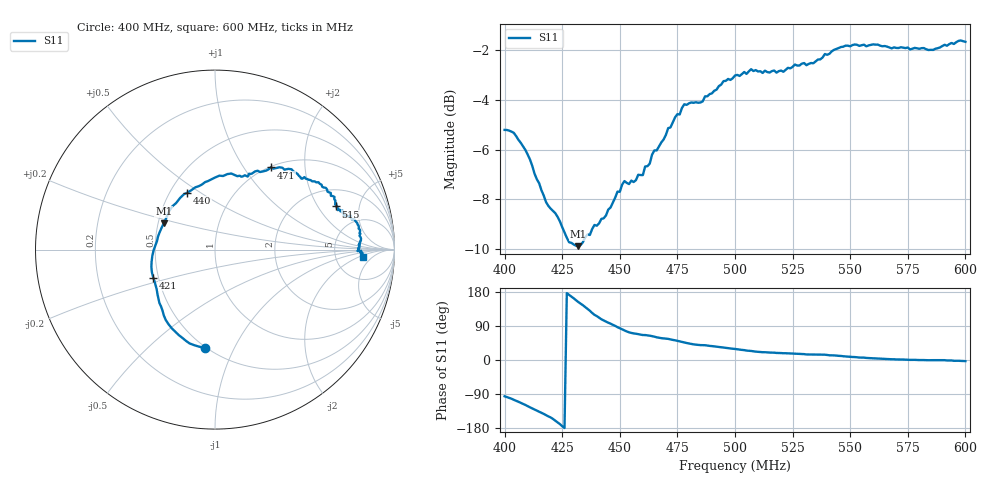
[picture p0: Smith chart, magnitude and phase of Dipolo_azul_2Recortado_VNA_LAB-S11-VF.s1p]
! Version 1.0
! Name  :	Dipolo_azul_2Recortado_VNA_LAB-S11-VF.s1p
! Measurement : [new]
! Date  :	07-05-26 12:02:50
! Generated by:	MiQVNA
# HZ S DB R 50
! Freq	ReS11	ImS11
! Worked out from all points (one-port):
!   201 points, 400 MHz to 600 MHz, reference 50 ohm
!   lowest |S11| = -9.9 dB at 432 MHz (marker M1), VSWR 1.94, Z = 26.8 + j8.73 ohm
!   |S11| at or under -10 dB: nowhere
!   S11 on the Smith chart (normalised r, x): 400 MHz: 0.49, -0.77; 421 MHz: 0.47, -0.17; 440 MHz: 0.61, +0.44; 471 MHz: 1.01, +1.34; 515 MHz: 2.97, +2.94; 600 MHz: 10, -3
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4e8  -5.20 -95.7
4.04e8  -5.32 -105.1
4.11e8  -6.39 -124.9
4.18e8  -8.11 -145.7
4.21e8  -8.46 -155.6
4.25e8  -9.11 -174.7
4.28e8  -9.72 171.6
4.32e8  -9.88 152.9
4.35e8  -9.52 139.5
4.4e8  -9.05 115.9
4.5e8  -7.69 83.7
4.55e8  -7.24 71.4
4.6e8  -7.02 65.9
4.71e8  -5.13 55.7
4.75e8  -4.57 50.5
4.81e8  -4.10 42.5
4.86e8  -4.06 39.1
5e8  -3.02 29.2
5.07e8  -2.76 23.8
5.15e8  -2.90 19.6
5.25e8  -2.67 16.8
5.31e8  -2.60 14.6
5.39e8  -2.15 14.0
5.5e8  -1.84 8.3
5.67e8  -1.89 2.1
5.75e8  -1.89 0.9
5.86e8  -1.99 -0.4
6e8  -1.66 -3.0
